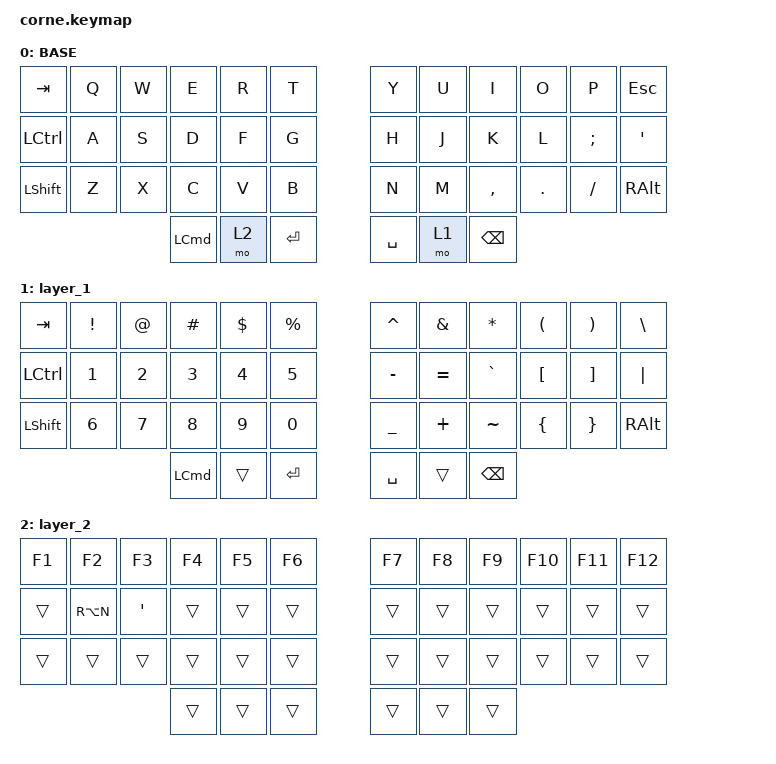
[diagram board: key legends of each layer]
#include <behaviors.dtsi>
#include <dt-bindings/zmk/keys.h>

/ {
    keymap {
        compatible = "zmk,keymap";

        BASE {
            bindings = <
&kp TAB           &kp Q  &kp W  &kp E             &kp R  &kp T        &kp Y      &kp U  &kp I          &kp O    &kp P     &kp ESC
&kp LEFT_CONTROL  &kp A  &kp S  &kp D             &kp F  &kp G        &kp H      &kp J  &kp K          &kp L    &kp SEMI  &kp SQT
&kp LEFT_SHIFT    &kp Z  &kp X  &kp C             &kp V  &kp B        &kp N      &kp M  &kp COMMA      &kp DOT  &kp FSLH  &kp RALT
                                &kp LEFT_COMMAND  &mo 2  &kp ENTER    &kp SPACE  &mo 1  &kp BACKSPACE
            >;
        };

        layer_1 {
            bindings = <
&kp TAB           &kp EXCL  &kp AT  &kp POUND         &kp DLLR  &kp PRCNT    &kp CARET       &kp AMPERSAND  &kp ASTERISK   &kp LPAR  &kp RPAR  &kp BACKSLASH
&kp LEFT_CONTROL  &kp N1    &kp N2  &kp N3            &kp N4    &kp N5       &kp MINUS       &kp EQUAL      &kp GRAVE      &kp LBKT  &kp RBKT  &kp PIPE
&kp LEFT_SHIFT    &kp N6    &kp N7  &kp N8            &kp N9    &kp N0       &kp UNDERSCORE  &kp PLUS       &kp TILDE      &kp LBRC  &kp RBRC  &kp RIGHT_ALT
                                    &kp LEFT_COMMAND  &trans    &kp RET      &kp SPACE       &trans         &kp BACKSPACE
            >;
        };

        layer_2 {
            bindings = <
&kp F1  &kp F2     &kp F3    &kp F4  &kp F5  &kp F6    &kp F7  &kp F8  &kp F9  &kp F10  &kp F11  &kp F12
&trans  &kp RA(N)  &kp APOS  &trans  &trans  &trans    &trans  &trans  &trans  &trans   &trans   &trans
&trans  &trans     &trans    &trans  &trans  &trans    &trans  &trans  &trans  &trans   &trans   &trans
                             &trans  &trans  &trans    &trans  &trans  &trans
            >;
        };
    };
};

